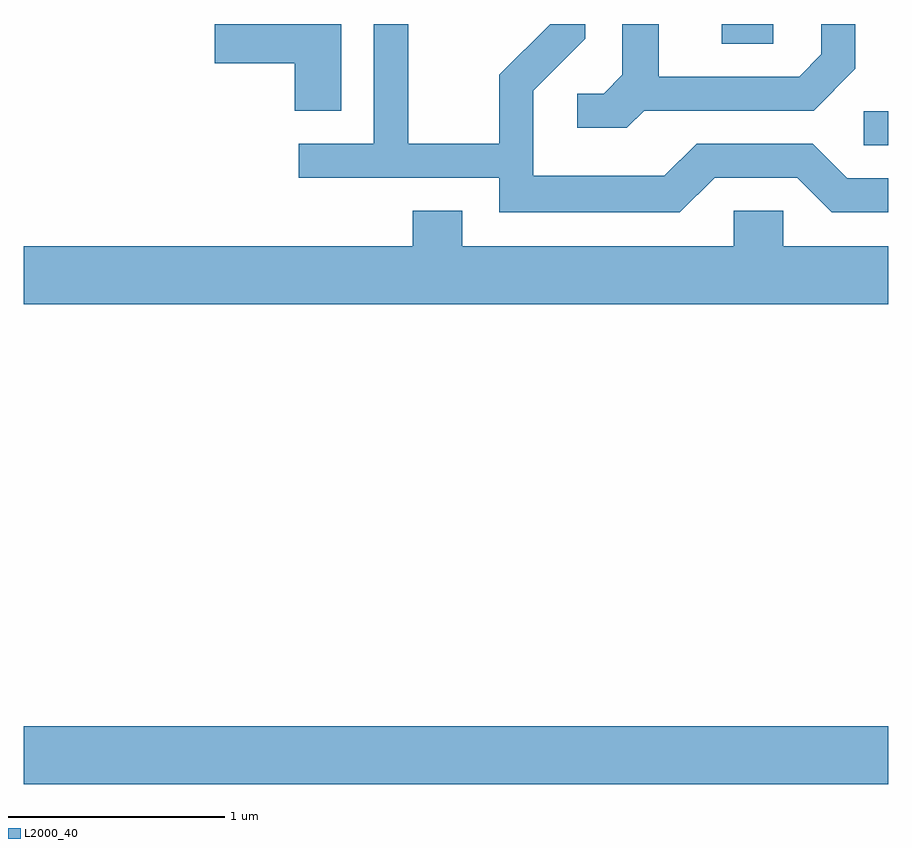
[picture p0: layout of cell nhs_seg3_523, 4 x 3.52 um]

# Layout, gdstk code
import gdstk
lib = gdstk.Library(unit=1e-6, precision=1e-09)
def R(c, l, rs):  # rectangles x0, y0, x1, y1
    for r in rs: c.add(gdstk.rectangle(r[:2], r[2:], *l))
def P(c, l, *ps):  # polygons
    for p in ps: c.add(gdstk.Polygon(p, *l))
L2000_40 = (2000, 40)

nhs_seg3_523 = lib.new_cell('nhs_seg3_523')
R(nhs_seg3_523, L2000_40, [(199.611,1210.376,203.611,1210.644), (203.498,1213.331,203.611,1213.489), (202.841,1213.801,203.079,1213.892)])
P(nhs_seg3_523, L2000_40, [(202.482,1213.491),(203.267,1213.491),(203.459,1213.684),(203.459,1213.892),(203.301,1213.892),(203.301,1213.752),(203.199,1213.649),(202.549,1213.649),(202.549,1213.892),(202.381,1213.892),(202.381,1213.657),(202.294,1213.569),(202.173,1213.569),(202.173,1213.411),(202.402,1213.411)],
  [(201.079,1213.892),(200.496,1213.892),(200.496,1213.711),(200.866,1213.711),(200.866,1213.491),(201.079,1213.491)],
  [(202.807,1213.181),(203.189,1213.181),(203.349,1213.021),(203.611,1213.021),(203.611,1213.179),(203.422,1213.179),(203.262,1213.339),(202.724,1213.339),(202.574,1213.189),(201.969,1213.189),(201.969,1213.584),(202.209,1213.824),(202.209,1213.892),(202.046,1213.892),(201.811,1213.657),(201.811,1213.339),(201.389,1213.339),(201.389,1213.892),(201.231,1213.892),(201.231,1213.339),(200.883,1213.339),(200.883,1213.181),(201.811,1213.181),(201.811,1213.021),(202.647,1213.021)],
  [(203.611,1212.864),(203.124,1212.864),(203.124,1213.029),(202.896,1213.029),(202.896,1212.864),(201.639,1212.864),(201.639,1213.029),(201.411,1213.029),(201.411,1212.864),(199.611,1212.864),(199.611,1212.596),(203.611,1212.596)])

lib.write_gds('nhs_seg3_523.gds')
